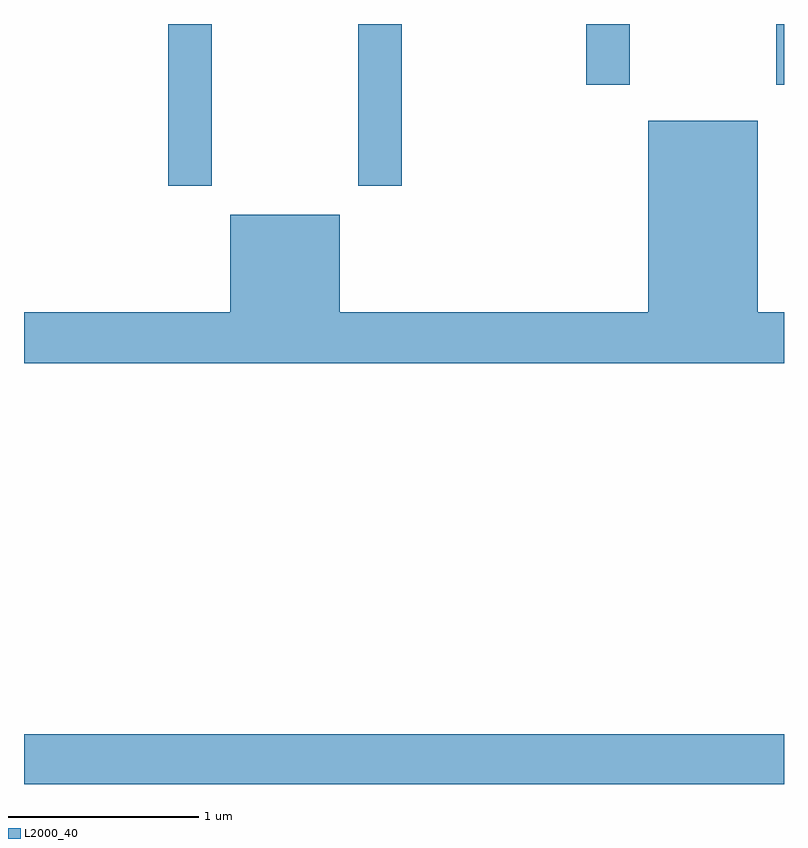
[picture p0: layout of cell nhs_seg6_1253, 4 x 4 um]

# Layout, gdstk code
import gdstk
lib = gdstk.Library(unit=1e-6, precision=1e-09)
def R(c, l, rs):  # rectangles x0, y0, x1, y1
    for r in rs: c.add(gdstk.rectangle(r[:2], r[2:], *l))
def P(c, l, *ps):  # polygons
    for p in ps: c.add(gdstk.Polygon(p, *l))
L2000_40 = (2000, 40)

nhs_seg6_1253 = lib.new_cell('nhs_seg6_1253')
R(nhs_seg6_1253, L2000_40, [(221.611,1652.162,225.611,1652.424), (222.371,1655.311,222.599,1656.162), (223.371,1655.311,223.599,1656.162), (224.571,1655.841,224.799,1656.162), (225.571,1655.841,225.611,1656.162)])
P(nhs_seg6_1253, L2000_40, [(225.611,1654.644),(225.474,1654.644),(225.474,1655.654),(224.896,1655.654),(224.896,1654.644),(223.274,1654.644),(223.274,1655.159),(222.696,1655.159),(222.696,1654.644),(221.611,1654.644),(221.611,1654.376),(225.611,1654.376)])

lib.write_gds('nhs_seg6_1253.gds')
